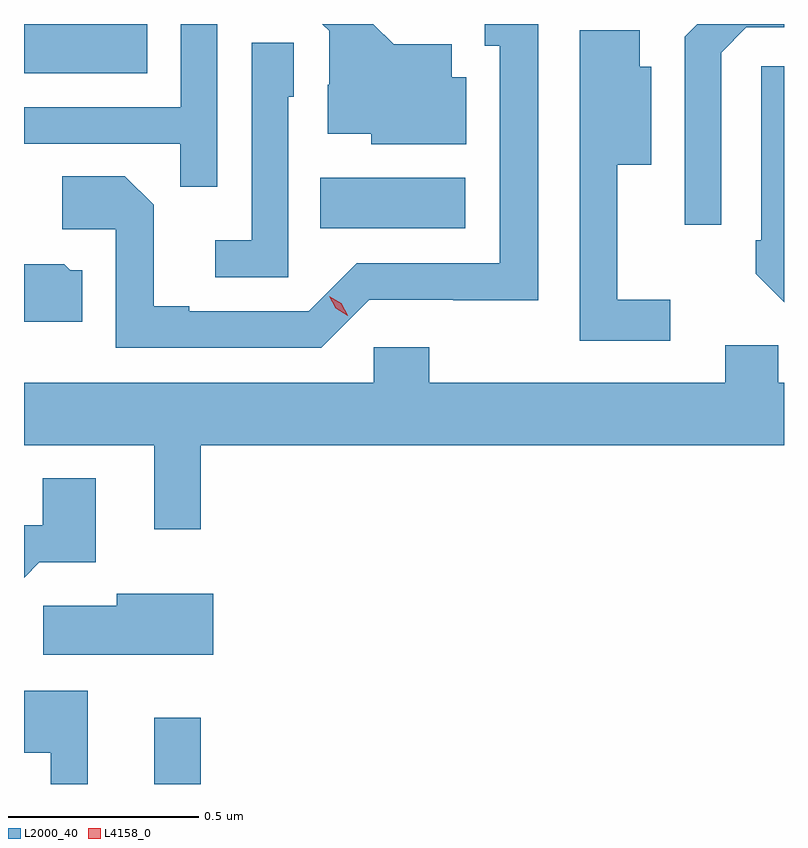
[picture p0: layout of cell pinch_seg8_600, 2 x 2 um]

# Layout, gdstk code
import gdstk
lib = gdstk.Library(unit=1e-6, precision=1e-09)
def R(c, l, rs):  # rectangles x0, y0, x1, y1
    for r in rs: c.add(gdstk.rectangle(r[:2], r[2:], *l))
def P(c, l, *ps):  # polygons
    for p in ps: c.add(gdstk.Polygon(p, *l))
L2000_40 = (2000, 40)
L4158_0 = (4158, 0)

pinch_seg8_600 = lib.new_cell('pinch_seg8_600')
R(pinch_seg8_600, L2000_40, [(161.129,1090.3,161.251,1090.474), (161.566,1091.762,161.947,1091.896), (160.786,1092.17,161.11,1092.3)])
P(pinch_seg8_600, L2000_40, [(161.694,1091.574),(161.916,1091.574),(161.916,1091.573),(162.139,1091.573),(162.139,1092.3),(161.999,1092.3),(161.999,1092.243),(162.038,1092.243),(162.038,1091.67),(161.661,1091.67),(161.535,1091.544),(161.221,1091.544),(161.221,1091.557),(161.127,1091.557),(161.127,1091.824),(161.051,1091.9),(160.887,1091.9),(160.887,1091.76),(161.028,1091.76),(161.028,1091.448),(161.568,1091.448)],
  [(161.95,1092.16),(161.911,1092.16),(161.911,1092.247),(161.759,1092.247),(161.705,1092.3),(161.571,1092.3),(161.589,1092.282),(161.589,1092.14),(161.585,1092.14),(161.585,1092.011),(161.7,1092.011),(161.7,1091.984),(161.95,1091.984)],
  [(161.295,1092.3),(161.199,1092.3),(161.199,1092.081),(160.786,1092.081),(160.786,1091.985),(161.197,1091.985),(161.197,1091.872),(161.295,1091.872)],
  [(162.621,1092.225),(162.687,1092.291),(162.786,1092.291),(162.786,1092.3),(162.558,1092.3),(162.525,1092.267),(162.525,1091.772),(162.621,1091.772)],
  [(162.487,1091.575),(162.347,1091.575),(162.347,1091.93),(162.436,1091.93),(162.436,1092.187),(162.406,1092.187),(162.406,1092.283),(162.248,1092.283),(162.248,1092.034),(162.249,1092.034),(162.249,1091.466),(162.487,1091.466)],
  [(161.481,1092.108),(161.496,1092.108),(161.496,1092.251),(161.385,1092.251),(161.385,1091.731),(161.289,1091.731),(161.289,1091.634),(161.481,1091.634)],
  [(162.786,1092.189),(162.726,1092.189),(162.726,1091.731),(162.711,1091.731),(162.711,1091.643),(162.786,1091.568)],
  [(160.939,1091.652),(160.908,1091.652),(160.892,1091.668),(160.786,1091.668),(160.786,1091.516),(160.939,1091.516)],
  [(161.251,1091.192),(162.786,1091.192),(162.786,1091.356),(162.771,1091.356),(162.771,1091.454),(162.632,1091.454),(162.632,1091.356),(161.853,1091.356),(161.853,1091.449),(161.706,1091.449),(161.706,1091.356),(160.786,1091.356),(160.786,1091.192),(161.129,1091.192),(161.129,1090.971),(161.251,1090.971)],
  [(160.826,1090.883),(160.975,1090.883),(160.975,1091.104),(160.835,1091.104),(160.835,1090.981),(160.786,1090.981),(160.786,1090.843)],
  [(161.284,1090.801),(161.03,1090.801),(161.03,1090.769),(160.836,1090.769),(160.836,1090.64),(161.284,1090.64)],
  [(160.954,1090.546),(160.786,1090.546),(160.786,1090.382),(160.856,1090.382),(160.856,1090.3),(160.954,1090.3)])
P(pinch_seg8_600, L4158_0, [(161.638,1091.532),(161.606,1091.552),(161.589,1091.584),(161.589,1091.584),(161.589,1091.584),(161.621,1091.565),(161.638,1091.533),(161.638,1091.532)])

lib.write_gds('pinch_seg8_600.gds')
